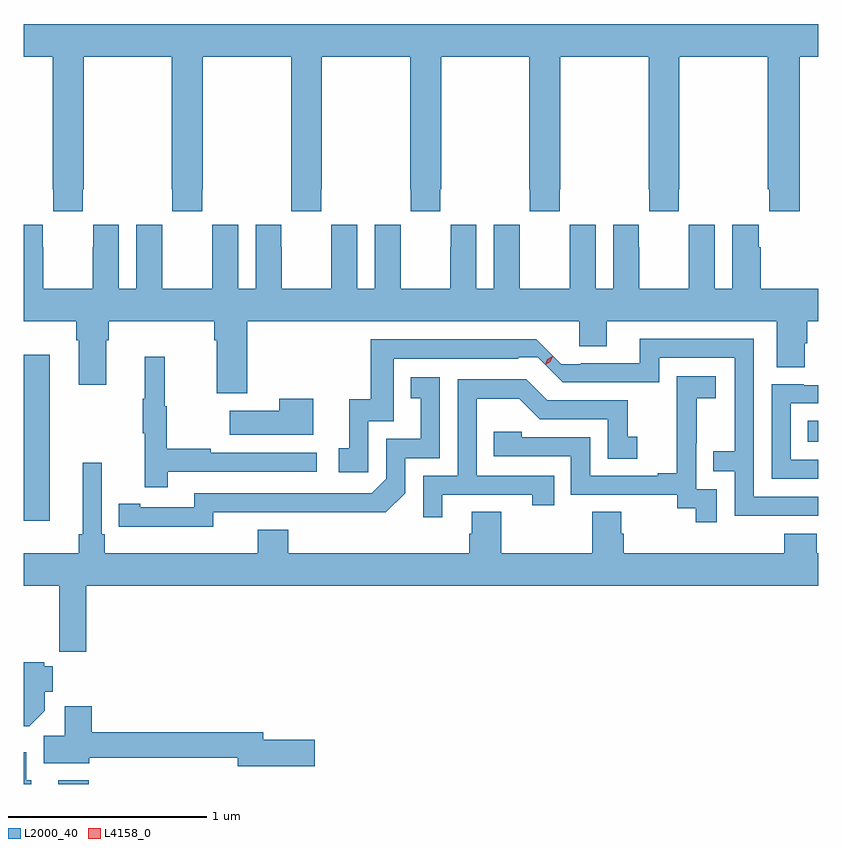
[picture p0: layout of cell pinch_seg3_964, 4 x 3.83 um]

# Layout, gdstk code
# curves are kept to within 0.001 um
import gdstk
lib = gdstk.Library(unit=1e-6, precision=1e-09)
def R(c, l, rs):  # rectangles x0, y0, x1, y1
    for r in rs: c.add(gdstk.rectangle(r[:2], r[2:], *l))
def P(c, l, *ps):  # polygons
    for p in ps: c.add(gdstk.Polygon(p, *l))
L2000_40 = (2000, 40)
L4158_0 = (4158, 0)

pinch_seg3_964 = lib.new_cell('pinch_seg3_964')
R(pinch_seg3_964, L2000_40, [(491.891,713.238,492.044,713.257), (491.717,714.564,491.848,715.399), (495.664,714.962,495.717,715.066)])
P(pinch_seg3_964, L2000_40, [(491.717,716.9),(491.863,716.9),(491.863,716.233),(491.865,716.233),(491.865,716.121),(492.015,716.121),(492.015,716.233),(492.018,716.233),(492.018,716.9),(492.463,716.9),(492.463,716.233),(492.465,716.233),(492.465,716.121),(492.615,716.121),(492.615,716.233),(492.618,716.233),(492.618,716.9),(493.063,716.9),(493.063,716.233),(493.065,716.233),(493.065,716.121),(493.215,716.121),(493.215,716.233),(493.218,716.233),(493.218,716.9),(493.663,716.9),(493.663,716.233),(493.665,716.233),(493.665,716.121),(493.815,716.121),(493.815,716.233),(493.818,716.233),(493.818,716.9),(494.263,716.9),(494.263,716.233),(494.265,716.233),(494.265,716.121),(494.415,716.121),(494.415,716.233),(494.418,716.233),(494.418,716.9),(494.863,716.9),(494.863,716.233),(494.865,716.233),(494.865,716.121),(495.015,716.121),(495.015,716.233),(495.018,716.233),(495.018,716.9),(495.463,716.9),(495.463,716.233),(495.469,716.233),(495.469,716.121),(495.623,716.121),(495.623,716.9),(495.717,716.9),(495.717,717.064),(491.717,717.064)],
  [(492.842,715.568),(494.513,715.568),(494.513,715.441),(494.653,715.441),(494.653,715.568),(495.509,715.568),(495.509,715.336),(495.649,715.336),(495.649,715.458),(495.662,715.458),(495.662,715.568),(495.717,715.568),(495.717,715.732),(495.428,715.732),(495.428,715.94),(495.418,715.94),(495.418,716.053),(495.284,716.053),(495.284,715.732),(495.196,715.732),(495.196,716.053),(495.066,716.053),(495.066,715.94),(495.065,715.94),(495.065,715.732),(494.815,715.732),(494.815,715.94),(494.814,715.94),(494.814,716.053),(494.684,716.053),(494.684,715.732),(494.596,715.732),(494.596,716.053),(494.466,716.053),(494.466,715.94),(494.465,715.94),(494.465,715.732),(494.215,715.732),(494.215,715.94),(494.214,715.94),(494.214,716.053),(494.084,716.053),(494.084,715.732),(493.996,715.732),(493.996,716.053),(493.866,716.053),(493.866,715.94),(493.865,715.94),(493.865,715.732),(493.615,715.732),(493.615,715.94),(493.614,715.94),(493.614,716.053),(493.484,716.053),(493.484,715.732),(493.396,715.732),(493.396,716.053),(493.266,716.053),(493.266,715.94),(493.265,715.94),(493.265,715.732),(493.015,715.732),(493.015,715.94),(493.014,715.94),(493.014,716.053),(492.884,716.053),(492.884,715.732),(492.796,715.732),(492.796,716.053),(492.666,716.053),(492.666,715.94),(492.665,715.94),(492.665,715.732),(492.415,715.732),(492.415,715.94),(492.414,715.94),(492.414,716.053),(492.284,716.053),(492.284,715.732),(492.196,715.732),(492.196,716.053),(492.066,716.053),(492.066,715.94),(492.065,715.94),(492.065,715.732),(491.815,715.732),(491.815,715.94),(491.814,715.94),(491.814,716.053),(491.717,716.053),(491.717,715.568),(491.981,715.568),(491.981,715.472),(491.993,715.472),(491.993,715.248),(492.133,715.248),(492.133,715.472),(492.146,715.472),(492.146,715.568),(492.677,715.568),(492.677,715.472),(492.689,715.472),(492.689,715.206),(492.842,715.206)],
  [(495.717,714.684),(495.393,714.684),(495.393,715.479),(494.819,715.479),(494.819,715.356),(494.521,715.356),(494.521,715.35),(494.424,715.35),(494.298,715.476),(493.465,715.476),(493.465,715.174),(493.355,715.174),(493.355,714.927),(493.302,714.927),(493.302,714.807),(493.452,714.807),(493.452,715.065),(493.581,715.065),(493.581,715.38),(494.207,715.38),(494.207,715.386),(494.304,715.386),(494.43,715.26),(494.916,715.26),(494.916,715.383),(495.297,715.383),(495.297,714.914),(495.187,714.914),(495.187,714.813),(495.297,714.813),(495.297,714.588),(495.717,714.588)],
  [(492.443,714.81),(493.192,714.81),(493.192,714.906),(492.659,714.906),(492.659,714.926),(492.436,714.926),(492.436,715.14),(492.428,715.14),(492.428,715.39),(492.326,715.39),(492.326,715.177),(492.315,715.177),(492.315,715.003),(492.326,715.003),(492.326,714.732),(492.443,714.732)],
  [(495.207,714.723),(495.102,714.723),(495.102,714.953),(495.104,714.953),(495.104,715.181),(495.202,715.181),(495.202,715.291),(495.004,715.291),(495.004,715.085),(495.005,715.085),(495.005,714.802),(494.909,714.802),(494.909,714.789),(494.568,714.789),(494.568,714.984),(494.223,714.984),(494.223,715.011),(494.083,715.011),(494.083,714.888),(494.472,714.888),(494.472,714.693),(495.006,714.693),(495.006,714.625),(495.099,714.625),(495.099,714.555),(495.207,714.555)],
  [(492.672,714.606),(493.54,714.605),(493.638,714.702),(493.638,714.879),(493.812,714.879),(493.812,715.285),(493.666,715.285),(493.666,715.179),(493.715,715.179),(493.715,714.975),(493.542,714.975),(493.542,714.774),(493.47,714.702),(492.576,714.702),(492.576,714.63),(492.304,714.63),(492.304,714.65),(492.196,714.65),(492.196,714.534),(492.672,714.533)],
  [(493.825,714.693),(494.276,714.693),(494.276,714.642),(494.387,714.642),(494.387,714.789),(493.998,714.789),(493.998,715.178),(494.212,715.178),(494.316,715.074),(494.658,715.074),(494.658,714.876),(494.806,714.876),(494.806,714.985),(494.757,714.985),(494.757,715.17),(494.353,715.17),(494.248,715.275),(493.902,715.275),(493.902,714.789),(493.728,714.789),(493.728,714.582),(493.825,714.582)],
  [(495.717,714.87),(495.579,714.87),(495.579,715.155),(495.717,715.155),(495.717,715.245),(495.645,715.245),(495.645,715.251),(495.483,715.251),(495.483,714.774),(495.717,714.774)],
  [(493.174,715.177),(493.004,715.177),(493.004,715.117),(492.755,715.117),(492.755,714.995),(493.174,714.995)],
  [(492.032,714.236),(495.717,714.236),(495.717,714.4),(495.71,714.4),(495.71,714.499),(495.545,714.499),(495.545,714.4),(494.738,714.4),(494.738,714.498),(494.725,714.498),(494.725,714.608),(494.578,714.608),(494.578,714.4),(494.121,714.4),(494.121,714.608),(493.973,714.608),(493.973,714.498),(493.961,714.498),(493.961,714.4),(493.049,714.4),(493.049,714.517),(492.896,714.517),(492.896,714.4),(492.125,714.4),(492.125,714.496),(492.111,714.496),(492.111,714.856),(492.014,714.856),(492.014,714.496),(491.995,714.496),(491.995,714.4),(491.717,714.4),(491.717,714.236),(491.896,714.236),(491.896,714.016),(491.897,714.016),(491.897,713.904),(492.032,713.904)],
  [(491.824,713.606),(491.824,713.702),(491.863,713.702),(491.863,713.83),(491.82,713.83),(491.82,713.85),(491.717,713.85),(491.717,713.528),(491.746,713.528)],
  [(493.183,713.462),(492.922,713.462),(492.922,713.498),(492.059,713.498),(492.059,713.629),(491.924,713.629),(491.924,713.48),(491.819,713.48),(491.819,713.342),(492.046,713.342),(492.046,713.37),(492.794,713.37),(492.794,713.327),(493.183,713.327)],
  [(491.755,713.256),(491.731,713.256),(491.731,713.398),(491.717,713.398),(491.717,713.238),(491.755,713.238)])
P(pinch_seg3_964, L4158_0, [(494.342,715.349),(494.342,715.349),(494.353,715.377),(494.379,715.392),(494.379,715.392),(494.379,715.391),(494.368,715.364),(494.342,715.349)])

lib.write_gds('pinch_seg3_964.gds')
